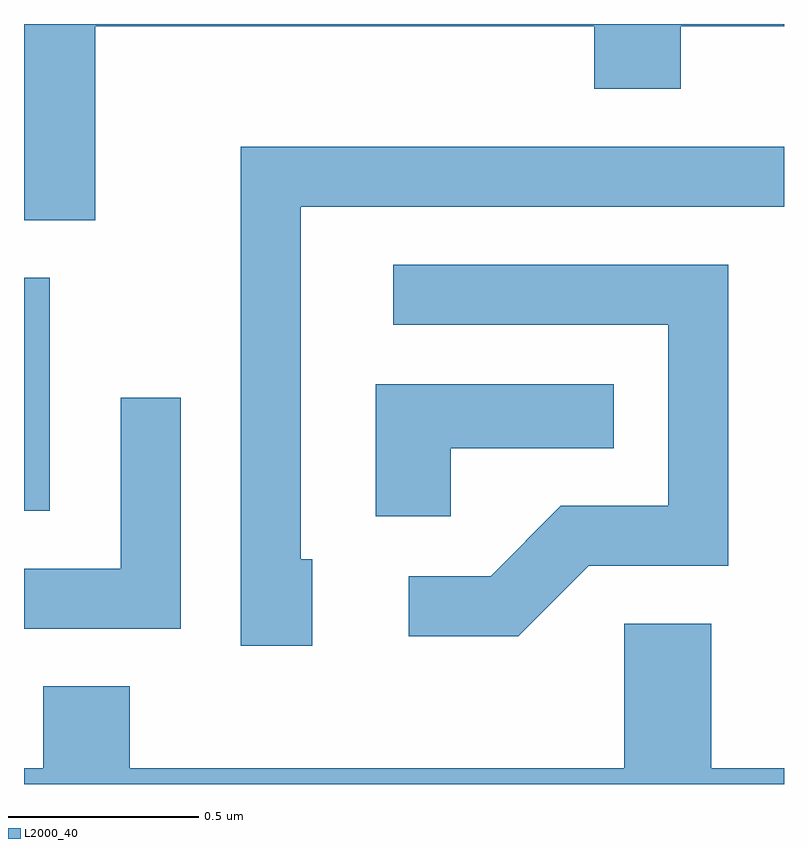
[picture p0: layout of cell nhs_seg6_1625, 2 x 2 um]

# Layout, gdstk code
import gdstk
lib = gdstk.Library(unit=1e-6, precision=1e-09)
def R(c, l, rs):  # rectangles x0, y0, x1, y1
    for r in rs: c.add(gdstk.rectangle(r[:2], r[2:], *l))
def P(c, l, *ps):  # polygons
    for p in ps: c.add(gdstk.Polygon(p, *l))
L2000_40 = (2000, 40)

nhs_seg6_1625 = lib.new_cell('nhs_seg6_1625')
R(nhs_seg6_1625, L2000_40, [(196.611,1650.881,196.679,1651.494)])
P(nhs_seg6_1625, L2000_40, [(196.799,1652.156),(198.111,1652.156),(198.111,1651.991),(198.339,1651.991),(198.339,1652.156),(198.611,1652.156),(198.611,1652.162),(196.611,1652.162),(196.611,1651.646),(196.799,1651.646)],
  [(197.369,1650.754),(197.339,1650.754),(197.339,1651.681),(198.611,1651.681),(198.611,1651.839),(197.181,1651.839),(197.181,1650.526),(197.369,1650.526)],
  [(198.097,1650.736),(198.464,1650.736),(198.464,1651.529),(197.583,1651.529),(197.583,1651.371),(198.306,1651.371),(198.306,1650.894),(198.024,1650.894),(197.839,1650.709),(197.623,1650.709),(197.623,1650.551),(197.912,1650.551)],
  [(197.734,1651.046),(198.163,1651.046),(198.163,1651.214),(197.536,1651.214),(197.536,1650.866),(197.734,1650.866)],
  [(197.024,1651.178),(196.866,1651.178),(196.866,1650.729),(196.611,1650.729),(196.611,1650.571),(197.024,1650.571)],
  [(198.611,1650.204),(198.419,1650.204),(198.419,1650.584),(198.191,1650.584),(198.191,1650.204),(196.889,1650.204),(196.889,1650.419),(196.661,1650.419),(196.661,1650.204),(196.611,1650.204),(196.611,1650.162),(198.611,1650.162)])

lib.write_gds('nhs_seg6_1625.gds')
